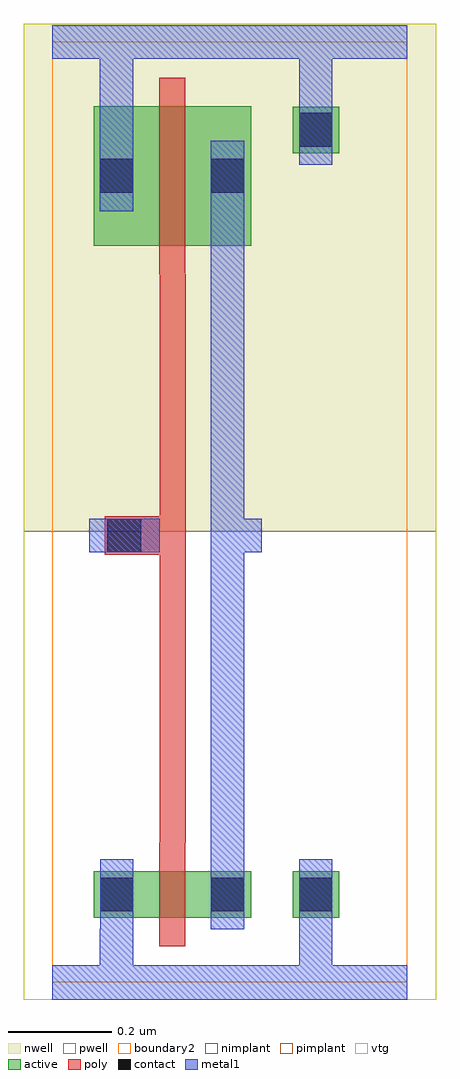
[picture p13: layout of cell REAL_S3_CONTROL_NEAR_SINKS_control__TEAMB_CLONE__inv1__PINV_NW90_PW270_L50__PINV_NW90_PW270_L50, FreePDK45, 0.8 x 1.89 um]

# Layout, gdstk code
import gdstk
lib = gdstk.Library(unit=1e-6, precision=1e-09)
def R(c, l, rs):  # rectangles x0, y0, x1, y1
    for r in rs: c.add(gdstk.rectangle(r[:2], r[2:], *l))
active = (1, 0)
pwell = (2, 0)
nwell = (3, 0)
nimplant = (4, 0)
pimplant = (5, 0)
vtg = (6, 0)
poly = (9, 0)
contact = (10, 0)
metal1 = (11, 0)
boundary2 = (239, 0)

real_s3_control_near_sin = lib.new_cell('REAL_S3_CONTROL_NEAR_SINKS_control__TEAMB_CLONE__inv1__PINV_NW90_PW270_L50__TRANSMISSION_GATE_NW250_PW500_L50_contact_8')
R(real_s3_control_near_sin, active, [(0,0.022,0.09,0.112), (0,0.022,0.09,0.112), (0,0.022,0.09,0.112)])
R(real_s3_control_near_sin, nwell, [(-0.055,-0.033,0.145,0.168), (-0.055,-0.033,0.145,0.168), (-0.055,-0.033,0.145,0.168)])
R(real_s3_control_near_sin, pimplant, [(0,0.022,0.09,0.112), (0,0.022,0.09,0.112), (0,0.022,0.09,0.112)])
R(real_s3_control_near_sin, contact, [(0.013,0.035,0.077,0.1), (0.013,0.035,0.077,0.1), (0.013,0.035,0.077,0.1)])
R(real_s3_control_near_sin, metal1, [(0.013,0,0.077,0.135), (0.013,0,0.077,0.135), (0.013,0,0.077,0.135)])
R(real_s3_control_near_sin, boundary2, [(-0.055,-0.033,0.145,0.168), (-0.055,-0.033,0.145,0.168), (-0.055,-0.033,0.145,0.168)])

c_real_s3_control_near_sin = lib.new_cell('REAL_S3_CONTROL_NEAR_SINKS_control__TEAMB_CLONE__inv1__PINV_NW90_PW270_L50__PINV_NW180_PW270_L50_pmos_m1_w0_270_sm1_dm1_da_p')
R(c_real_s3_control_near_sin, active, [(0,0,0.305,0.27), (0,0,0.305,0.27), (0,0,0.305,0.27)])
R(c_real_s3_control_near_sin, nwell, [(-0.08,-0.08,0.385,0.35), (-0.08,-0.08,0.385,0.35), (-0.08,-0.08,0.385,0.35)])
R(c_real_s3_control_near_sin, pimplant, [(0,0,0.305,0.27), (0,0,0.305,0.27), (0,0,0.305,0.27)])
R(c_real_s3_control_near_sin, vtg, [(-0.08,-0.08,0.385,0.35), (-0.08,-0.08,0.385,0.35), (-0.08,-0.08,0.385,0.35)])
R(c_real_s3_control_near_sin, poly, [(0.127,-0.055,0.177,0.325), (0.127,-0.055,0.177,0.325), (0.127,-0.055,0.177,0.325), (0.127,-0.055,0.177,0.325), (0.127,-0.055,0.177,0.325), (0.127,-0.055,0.177,0.325)])
R(c_real_s3_control_near_sin, metal1, [(0.013,0.068,0.077,0.203), (0.013,0.068,0.077,0.203), (0.013,0.068,0.077,0.203), (0.227,0.068,0.292,0.203), (0.227,0.068,0.292,0.203), (0.227,0.068,0.292,0.203)])
R(c_real_s3_control_near_sin, boundary2, [(-0.08,-0.08,0.385,0.35), (-0.08,-0.08,0.385,0.35), (-0.08,-0.08,0.385,0.35)])
c_real_s3_control_near_sin.add(gdstk.Reference(real_s3_control_near_sin, (0,0.068)))
c_real_s3_control_near_sin.add(gdstk.Reference(real_s3_control_near_sin, (0.215,0.068)))

c_real_s3_control_near_sin_ = lib.new_cell('REAL_S3_CONTROL_NEAR_SINKS_control__TEAMB_CLONE__inv1__PINV_NW90_PW270_L50__TRANSMISSION_GATE_NW250_PW500_L50_contact_7')
R(c_real_s3_control_near_sin_, active, [(0,0.022,0.09,0.112), (0,0.022,0.09,0.112), (0,0.022,0.09,0.112)])
R(c_real_s3_control_near_sin_, pwell, [(-0.055,-0.033,0.145,0.168), (-0.055,-0.033,0.145,0.168), (-0.055,-0.033,0.145,0.168)])
R(c_real_s3_control_near_sin_, nimplant, [(0,0.022,0.09,0.112), (0,0.022,0.09,0.112), (0,0.022,0.09,0.112)])
R(c_real_s3_control_near_sin_, contact, [(0.013,0.035,0.077,0.1), (0.013,0.035,0.077,0.1), (0.013,0.035,0.077,0.1)])
R(c_real_s3_control_near_sin_, metal1, [(0.013,0,0.077,0.135), (0.013,0,0.077,0.135), (0.013,0,0.077,0.135)])
R(c_real_s3_control_near_sin_, boundary2, [(-0.055,-0.033,0.145,0.168), (-0.055,-0.033,0.145,0.168), (-0.055,-0.033,0.145,0.168)])

c_real_s3_control_near_sin__ = lib.new_cell('REAL_S3_CONTROL_NEAR_SINKS_control__TEAMB_CLONE__inv1__PINV_NW90_PW270_L50__PINV_NW90_PW270_L50_nmos_m1_w0_090_sm1_dm1_da_p')
R(c_real_s3_control_near_sin__, active, [(0,0,0.305,0.09), (0,0,0.305,0.09), (0,0,0.305,0.09)])
R(c_real_s3_control_near_sin__, pwell, [(-0.08,-0.08,0.385,0.17), (-0.08,-0.08,0.385,0.17), (-0.08,-0.08,0.385,0.17)])
R(c_real_s3_control_near_sin__, nimplant, [(0,0,0.305,0.09), (0,0,0.305,0.09), (0,0,0.305,0.09)])
R(c_real_s3_control_near_sin__, vtg, [(-0.08,-0.08,0.385,0.17), (-0.08,-0.08,0.385,0.17), (-0.08,-0.08,0.385,0.17)])
R(c_real_s3_control_near_sin__, poly, [(0.127,-0.055,0.177,0.145), (0.127,-0.055,0.177,0.145), (0.127,-0.055,0.177,0.145), (0.127,-0.055,0.177,0.145), (0.127,-0.055,0.177,0.145), (0.127,-0.055,0.177,0.145)])
R(c_real_s3_control_near_sin__, metal1, [(0.013,-0.022,0.077,0.112), (0.013,-0.022,0.077,0.112), (0.013,-0.022,0.077,0.112), (0.227,-0.022,0.292,0.112), (0.227,-0.022,0.292,0.112), (0.227,-0.022,0.292,0.112)])
R(c_real_s3_control_near_sin__, boundary2, [(-0.08,-0.08,0.385,0.17), (-0.08,-0.08,0.385,0.17), (-0.08,-0.08,0.385,0.17)])
c_real_s3_control_near_sin__.add(gdstk.Reference(c_real_s3_control_near_sin_, (0,-0.022)))
c_real_s3_control_near_sin__.add(gdstk.Reference(c_real_s3_control_near_sin_, (0.215,-0.022)))

c_real_s3_control_near_sin___ = lib.new_cell('REAL_S3_CONTROL_NEAR_SINKS_control__TEAMB_CLONE__inv1__PINV_NW90_PW270_L50__TRANSMISSION_GATE_NW250_PW500_L50_contact_9')
R(c_real_s3_control_near_sin___, active, [(0,0.022,0.09,0.112), (0,0.022,0.09,0.112), (0,0.022,0.09,0.112)])
R(c_real_s3_control_near_sin___, nwell, [(-0.055,-0.033,0.145,0.168), (-0.055,-0.033,0.145,0.168), (-0.055,-0.033,0.145,0.168)])
R(c_real_s3_control_near_sin___, nimplant, [(0,0.022,0.09,0.112), (0,0.022,0.09,0.112), (0,0.022,0.09,0.112)])
R(c_real_s3_control_near_sin___, contact, [(0.013,0.035,0.077,0.1), (0.013,0.035,0.077,0.1), (0.013,0.035,0.077,0.1)])
R(c_real_s3_control_near_sin___, metal1, [(0.013,0,0.077,0.135), (0.013,0,0.077,0.135), (0.013,0,0.077,0.135)])
R(c_real_s3_control_near_sin___, boundary2, [(-0.055,-0.033,0.145,0.168), (-0.055,-0.033,0.145,0.168), (-0.055,-0.033,0.145,0.168)])

c_real_s3_control_near_sin____ = lib.new_cell('REAL_S3_CONTROL_NEAR_SINKS_control__TEAMB_CLONE__inv1__PINV_NW90_PW270_L50__TRANSMISSION_GATE_NW250_PW500_L50_contact_10')
R(c_real_s3_control_near_sin____, active, [(0,0.022,0.09,0.112), (0,0.022,0.09,0.112), (0,0.022,0.09,0.112)])
R(c_real_s3_control_near_sin____, pwell, [(-0.055,-0.033,0.145,0.168), (-0.055,-0.033,0.145,0.168), (-0.055,-0.033,0.145,0.168)])
R(c_real_s3_control_near_sin____, pimplant, [(0,0.022,0.09,0.112), (0,0.022,0.09,0.112), (0,0.022,0.09,0.112)])
R(c_real_s3_control_near_sin____, contact, [(0.013,0.035,0.077,0.1), (0.013,0.035,0.077,0.1), (0.013,0.035,0.077,0.1)])
R(c_real_s3_control_near_sin____, metal1, [(0.013,0,0.077,0.135), (0.013,0,0.077,0.135), (0.013,0,0.077,0.135)])
R(c_real_s3_control_near_sin____, boundary2, [(-0.055,-0.033,0.145,0.168), (-0.055,-0.033,0.145,0.168), (-0.055,-0.033,0.145,0.168)])

c_real_s3_control_near_sin_____ = lib.new_cell('REAL_S3_CONTROL_NEAR_SINKS_control__TEAMB_CLONE__inv1__PINV_NW90_PW270_L50__PINV_NW180_PW270_L50_contact_11')
R(c_real_s3_control_near_sin_____, poly, [(0.03,0,0.105,0.075), (0.03,0,0.105,0.075), (0.03,0,0.105,0.075)])
R(c_real_s3_control_near_sin_____, contact, [(0.035,0.005,0.1,0.07), (0.035,0.005,0.1,0.07), (0.035,0.005,0.1,0.07)])
R(c_real_s3_control_near_sin_____, metal1, [(0,0.005,0.135,0.07), (0,0.005,0.135,0.07), (0,0.005,0.135,0.07)])
R(c_real_s3_control_near_sin_____, boundary2, [(0,0,0.135,0.075), (0,0,0.135,0.075), (0,0,0.135,0.075)])

c_real_s3_control_near_sin______ = lib.new_cell('REAL_S3_CONTROL_NEAR_SINKS_control__TEAMB_CLONE__inv1__PINV_NW90_PW270_L50__PINV_NW90_PW270_L50_core')
R(c_real_s3_control_near_sin______, pwell, [(-0.055,-0.033,0.743,0.873), (-0.055,-0.033,0.743,0.873), (-0.055,-0.033,0.743,0.873)])
R(c_real_s3_control_near_sin______, nwell, [(-0.055,0.873,0.743,1.855), (-0.055,0.873,0.743,1.855), (-0.055,0.873,0.743,1.855)])
R(c_real_s3_control_near_sin______, vtg, [(-0.055,-0.033,0.743,0.873), (-0.055,-0.033,0.743,0.873), (-0.055,-0.033,0.743,0.873), (-0.055,0.873,0.743,1.855), (-0.055,0.873,0.743,1.855), (-0.055,0.873,0.743,1.855)])
R(c_real_s3_control_near_sin______, poly, [(0.208,0.27,0.258,1.37), (0.208,0.27,0.258,1.37), (0.208,0.27,0.258,1.37), (0.14,0.827,0.208,0.902), (0.14,0.827,0.208,0.902), (0.14,0.827,0.208,0.902)])
R(c_real_s3_control_near_sin______, metal1, [(0,-0.033,0.687,0.033), (0,-0.033,0.687,0.033), (0,-0.033,0.687,0.033), (0.092,-0.033,0.157,0.103), (0.092,-0.033,0.157,0.103), (0.092,-0.033,0.157,0.103), (0.478,0,0.542,0.17), (0.478,0,0.542,0.17), (0.478,0,0.542,0.17), (0.307,0.103,0.372,1.627), (0.307,0.103,0.372,1.627), (0.307,0.103,0.372,1.627), (0.072,0.832,0.208,0.897), (0.072,0.832,0.208,0.897), (0.072,0.832,0.208,0.897), (0.34,0.832,0.405,0.897), (0.34,0.832,0.405,0.897), (0.34,0.832,0.405,0.897), (0.092,1.492,0.157,1.852), (0.092,1.492,0.157,1.852), (0.092,1.492,0.157,1.852), (0.478,1.65,0.542,1.82), (0.478,1.65,0.542,1.82), (0.478,1.65,0.542,1.82), (0,1.787,0.687,1.852), (0,1.787,0.687,1.852), (0,1.787,0.687,1.852)])
R(c_real_s3_control_near_sin______, boundary2, [(0,0,0.687,1.82), (0,0,0.687,1.82), (0,0,0.687,1.82), (0,0,0.687,1.82), (0,0,0.687,1.82), (0,0,0.687,1.82)])
c_real_s3_control_near_sin______.add(gdstk.Reference(c_real_s3_control_near_sin, (0.08,1.425)))
c_real_s3_control_near_sin______.add(gdstk.Reference(c_real_s3_control_near_sin__, (0.08,0.125)))
c_real_s3_control_near_sin______.add(gdstk.Reference(c_real_s3_control_near_sin___, (0.465,1.582)))
c_real_s3_control_near_sin______.add(gdstk.Reference(c_real_s3_control_near_sin____, (0.465,0.103)))
c_real_s3_control_near_sin______.add(gdstk.Reference(c_real_s3_control_near_sin_____, (0.072,0.827)))

c_real_s3_control_near_sin_______ = lib.new_cell('REAL_S3_CONTROL_NEAR_SINKS_control__TEAMB_CLONE__inv1__PINV_NW90_PW270_L50__PINV_NW90_PW270_L50')
R(c_real_s3_control_near_sin_______, metal1, [(0,-0.033,0.687,0.033), (0,-0.033,0.687,0.033), (0,-0.033,0.687,0.033), (0.072,0.832,0.208,0.897), (0.072,0.832,0.208,0.897), (0.072,0.832,0.208,0.897), (0.34,0.832,0.405,0.897), (0.34,0.832,0.405,0.897), (0.34,0.832,0.405,0.897), (0,1.787,0.687,1.852), (0,1.787,0.687,1.852), (0,1.787,0.687,1.852)])
R(c_real_s3_control_near_sin_______, boundary2, [(0,0,0.687,1.82), (0,0,0.687,1.82), (0,0,0.687,1.82)])
c_real_s3_control_near_sin_______.add(gdstk.Reference(c_real_s3_control_near_sin______, (0,0)))

lib.write_gds('REAL_S3_CONTROL_NEAR_SINKS_control__TEAMB_CLONE__inv1__PINV_NW90_PW270_L50__PINV_NW90_PW270_L50.gds')
